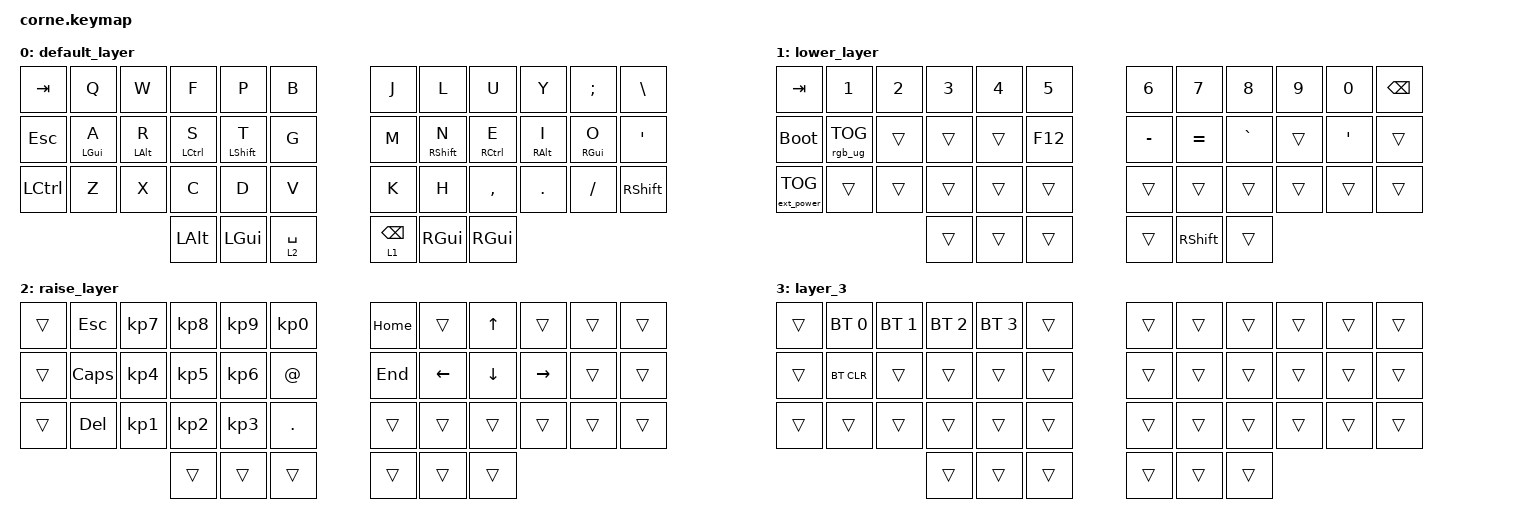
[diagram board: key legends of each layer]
/*
 * Copyright (c) 2020 The ZMK Contributors
 *
 * SPDX-License-Identifier: MIT
 */

#include <behaviors.dtsi>
#include <dt-bindings/zmk/bt.h>
#include <dt-bindings/zmk/ext_power.h>
#include <dt-bindings/zmk/keys.h>
#include <dt-bindings/zmk/rgb.h>

/ {
    behaviors {
        hm: homerow_mods {
            compatible = "zmk,behavior-hold-tap";
            label = "HOMEROW_MODS";
            #binding-cells = <2>;
            tapping-term-ms = <200>;
            quick_tap_ms = <0>;
            flavor = "tap-preferred";
            bindings = <&kp>, <&kp>;

            quick-tap-ms = <180>;
            global-quick-tap;
        };

        ltq: ltq {
            compatible = "zmk,behavior-hold-tap";
            label = "LTQ";
            bindings = <&mo>, <&kp>;

            #binding-cells = <2>;
            tapping-term-ms = <600>;
            global-quick-tap;
            quick-tap-ms = <400>;
        };
    };

    combos {
        compatible = "zmk,combos";

        left_bkt {
            bindings = <&kp LEFT_BRACKET>;
            key-positions = <4 3>;
            timeout-ms = <50>;
        };

        right_bkt {
            bindings = <&kp RBKT>;
            key-positions = <7 8>;
            timeout-ms = <50>;
        };

        left_par {
            bindings = <&kp LEFT_PARENTHESIS>;
            key-positions = <15 16>;
            timeout-ms = <50>;
        };

        right_par {
            bindings = <&kp RIGHT_PARENTHESIS>;
            key-positions = <19 20>;
            timeout-ms = <50>;
        };

        left_brace {
            bindings = <&kp LEFT_BRACE>;
            key-positions = <27 28>;
            timeout-ms = <50>;
        };

        right_brace {
            bindings = <&kp RIGHT_BRACE>;
            key-positions = <32 31>;
            timeout-ms = <50>;
        };

        bac {
            bindings = <&kp BACKSLASH>;
            key-positions = <5 6>;
        };

        pipe {
            bindings = <&kp PIPE>;
            key-positions = <17 18>;
        };

        enter {
            bindings = <&kp ENTER>;
            key-positions = <19 20 21>;
        };
    };

    keymap {
        compatible = "zmk,keymap";

        default_layer {
            bindings = <
&kp TAB           &kp Q           &kp W           &kp F         &kp P             &kp B        &kp J            &kp L          &kp U          &kp Y            &kp SEMICOLON  &kp BACKSLASH
&kp ESCAPE        &hm LEFT_GUI A  &hm LEFT_ALT R  &hm LCTRL S   &hm LEFT_SHIFT T  &kp G        &kp M            &hm RSHIFT N   &hm RCTRL E    &hm RIGHT_ALT I  &hm RGUI O     &kp SQT
&kp LEFT_CONTROL  &kp Z           &kp X           &kp C         &kp D             &kp V        &kp K            &kp H          &kp COMMA      &kp DOT          &kp FSLH       &kp RIGHT_SHIFT
                                                  &kp LEFT_ALT  &kp LEFT_GUI      &lt 2 SPACE  &lt 1 BACKSPACE  &kp RIGHT_GUI  &kp RIGHT_GUI
            >;
        };

        lower_layer {
            bindings = <
&kp TAB            &kp N1           &kp N2  &kp N3  &kp N4  &kp N5   &kp N6     &kp N7           &kp N8     &kp N9  &kp N0   &kp BSPC
&bootloader        &rgb_ug RGB_TOG  &trans  &trans  &trans  &kp F12  &kp MINUS  &kp EQUAL        &kp GRAVE  &trans  &kp SQT  &trans
&ext_power EP_TOG  &trans           &trans  &trans  &trans  &trans   &trans     &trans           &trans     &trans  &trans   &trans
                                            &trans  &trans  &trans   &trans     &kp RIGHT_SHIFT  &trans
            >;
        };

        raise_layer {
            bindings = <
&trans  &kp ESC     &kp KP_NUMBER_7  &kp KP_NUMBER_8  &kp KP_NUMBER_9  &kp KP_NUMBER_0  &kp HOME  &trans    &kp UP    &trans     &trans  &trans
&trans  &kp CAPS    &kp KP_NUMBER_4  &kp KP_NUMBER_5  &kp KP_NUMBER_6  &kp AT           &kp END   &kp LEFT  &kp DOWN  &kp RIGHT  &trans  &trans
&trans  &kp DELETE  &kp KP_NUMBER_1  &kp KP_NUMBER_2  &kp KP_NUMBER_3  &kp DOT          &trans    &trans    &trans    &trans     &trans  &trans
                                     &trans           &trans           &trans           &trans    &trans    &trans
            >;
        };

        layer_3 {
            bindings = <
&trans  &bt BT_SEL 0  &bt BT_SEL 1  &bt BT_SEL 2  &bt BT_SEL 3  &trans  &trans  &trans  &trans  &trans  &trans  &trans
&trans  &bt BT_CLR    &trans        &trans        &trans        &trans  &trans  &trans  &trans  &trans  &trans  &trans
&trans  &trans        &trans        &trans        &trans        &trans  &trans  &trans  &trans  &trans  &trans  &trans
                                    &trans        &trans        &trans  &trans  &trans  &trans
            >;
        };

        extra1 { status = "reserved"; };

        extra2 { status = "reserved"; };

        extra3 { status = "reserved"; };

        extra4 { status = "reserved"; };
    };
};
